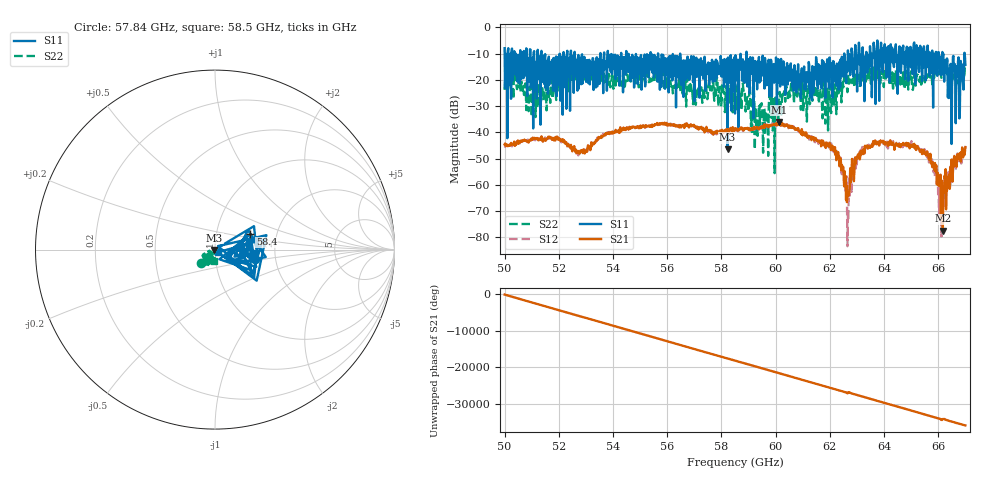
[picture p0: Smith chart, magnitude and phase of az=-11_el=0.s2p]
!Created with skrf (http://scikit-rf.org).
# GHz S RI R 50.0
!freq ReS11 ImS11 ReS21 ImS21 ReS12 ImS12 ReS22 ImS22
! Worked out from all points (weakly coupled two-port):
!   1001 points, 50 GHz to 67 GHz, reference 50 ohm
!   highest |S21| = -36.07 dB at 60.13 GHz (marker M1); lowest = -77.4 dB at 66.17 GHz (marker M2)
!   lowest |S11| = -46.5 dB at 58.23 GHz (marker M3), VSWR 1.01, Z = 49.6 - j0.194 ohm
!   |S11| at or under -10 dB: 52.59 GHz to 53.53 GHz (948 MHz wide, 1.79 % of centre); 56.48 GHz to 58.92 GHz (2.447 GHz wide, 4.24 % of centre); 58.93 GHz to 62.53 GHz (3.599 GHz wide, 5.93 % of centre) (the widest 3 of 61)
!   |S22| runs from -55.5 to -13.3 dB; largest |S21 - S12| = 0.0024
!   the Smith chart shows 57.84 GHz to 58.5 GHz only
!   S11 on the Smith chart (normalised r, x): 57.84 GHz: 1.55, -0.18; 58.4 GHz: 1.46, +0.27; 58.5 GHz: 1.04, -0.03
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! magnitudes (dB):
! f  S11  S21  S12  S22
! 50 GHz  -7.9  -44.6  -45.3  -23.8
! 50.15 GHz  -22.2  -45.2  -45.2  -20.7
! 51.07 GHz  -9.7  -42.5  -42.8  -26.5
! 52.84 GHz  -11.6  -47.1  -47.2  -19.5
! 55.68 GHz  -13.3  -37.0  -36.8  -21.2
! 57.84 GHz  -12.9  -39.4  -39.8  -19.1
! 58.23 GHz  -46.5  -38.9  -38.6  -22.9
! 58.4 GHz  -13.3  -39.7  -39.0  -26.2
! 58.5 GHz  -32.8  -38.5  -38.9  -23.7
! 59.32 GHz  -23.6  -38.4  -38.3  -35.4
! 60.13 GHz  -21.0  -36.1  -36.9  -24.7
! 60.64 GHz  -16.0  -37.9  -37.9  -22.4
! 61.34 GHz  -27.7  -41.8  -41.7  -27.0
! 62.24 GHz  -22.2  -50.6  -47.1  -33.1
! 62.65 GHz  -16.7  -63.4  -83.4  -24.7
! 63.17 GHz  -10.8  -47.6  -48.9  -18.1
! 64.18 GHz  -11.6  -44.1  -44.7  -17.4
! 65.47 GHz  -7.2  -46.7  -48.5  -18.6
! 65.89 GHz  -17.4  -54.8  -52.7  -17.7
! 66.17 GHz  -11.1  -77.4  -64.7  -15.4
! 66.44 GHz  -18.7  -53.2  -61.2  -16.3
! 67 GHz  -14.3  -45.6  -45.4  -14.4
